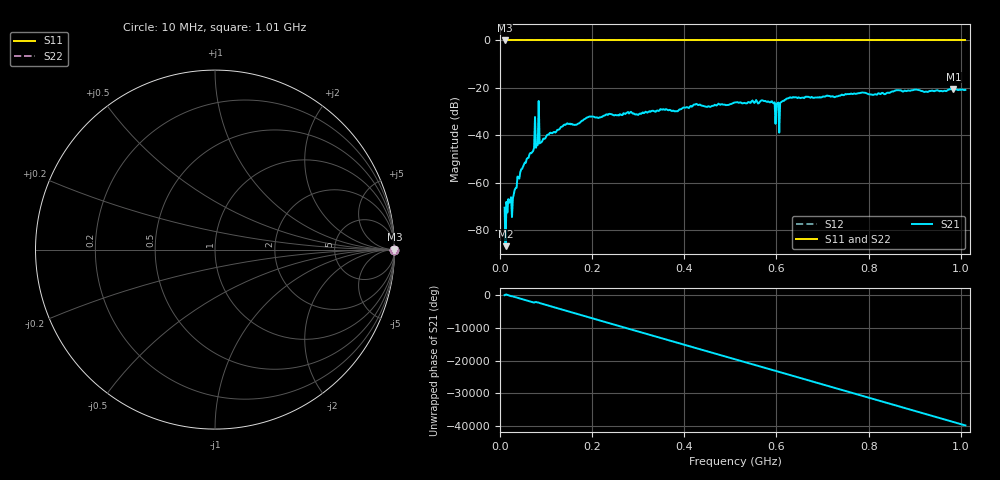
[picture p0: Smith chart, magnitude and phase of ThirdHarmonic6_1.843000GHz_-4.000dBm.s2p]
! 8/16/2025 10:18:20 PM
! C:\ANRITSUVNA\TEMP\TEMP.S2P
! CHANNEL.1
! TR.MEASUREMENT
! RAW.DATA
! RF.CORRECTION.OFF
! AVERAGING.OFF
! IF.BANDWIDTH: 5KHZ
! SWEEPTYPE:  FREQ.SWEEP(Linear)
! Reference Plane Port Info
! PORT:  PORT1  PORT2
! DISTANCE:  0  m  0  m
! TIME:  0  s  0  s
! PHASE.OFFSET:  0  deg.  0  deg.
! LOSS:  0  dB  0  dB
! REF.LOSS:  0  dB  0  dB
! REF.FREQ:  0  Hz  0  Hz
! Power Info
! POWER:  -20  dBm  -20  dBm
! EFF.POWER:  -20  dBm  -20  dBm
! SOURCE.ATTEN:  0  dB  0  dB
! TEST.ATTEN:  0  dB  0  dB
# GHZ S RI R 50.0
! FREQ.GHZ  S11RE  S11IM  S21RE  S21IM  S12RE  S12IM  S22RE  S22IM
!; PortSelection: Port_12
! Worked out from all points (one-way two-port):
!   501 points, 10 MHz to 1.01 GHz, reference 50 ohm
!   highest |S21| = -20.53 dB at 984 MHz (marker M1); lowest = -86.8 dB at 12 MHz (marker M2)
!   lowest |S11| = 0.0 dB at 10 MHz (marker M3)
!   |S11| at or under -10 dB: nowhere
!   |S22| runs from 0.0 to 0.0 dB; largest |S21 - S12| = 1.1
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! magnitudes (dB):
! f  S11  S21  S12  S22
! 10 MHz  0.0  -70.6  0.0  0.0
! 12 MHz  0.0  -86.8  0.0  0.0
! 30 MHz  0.0  -64.9  0.0  0.0
! 48 MHz  0.0  -54.2  0.0  0.0
! 70 MHz  0.0  -47.1  0.0  0.0
! 78 MHz  0.0  -45.3  0.0  0.0
! 80 MHz  0.0  -44.0  0.0  0.0
! 82 MHz  0.0  -44.1  0.0  0.0
! 88 MHz  0.0  -43.2  0.0  0.0
! 90 MHz  0.0  -42.9  0.0  0.0
! 142 MHz  0.0  -35.6  0.0  0.0
! 178 MHz  0.0  -33.9  0.0  0.0
! 344 MHz  0.0  -29.8  0.0  0.0
! 510 MHz  0.0  -26.1  0.0  0.0
! 592 MHz  0.0  -26.3  0.0  0.0
! 602 MHz  0.0  -26.5  0.0  0.0
! 612 MHz  0.0  -25.8  0.0  0.0
! 626 MHz  0.0  -24.4  0.0  0.0
! 678 MHz  0.0  -24.0  0.0  0.0
! 844 MHz  0.0  -22.1  0.0  0.0
! 984 MHz  0.0  -20.5  0.0  0.0
! 1.01 GHz  0.0  -20.9  0.0  0.0
